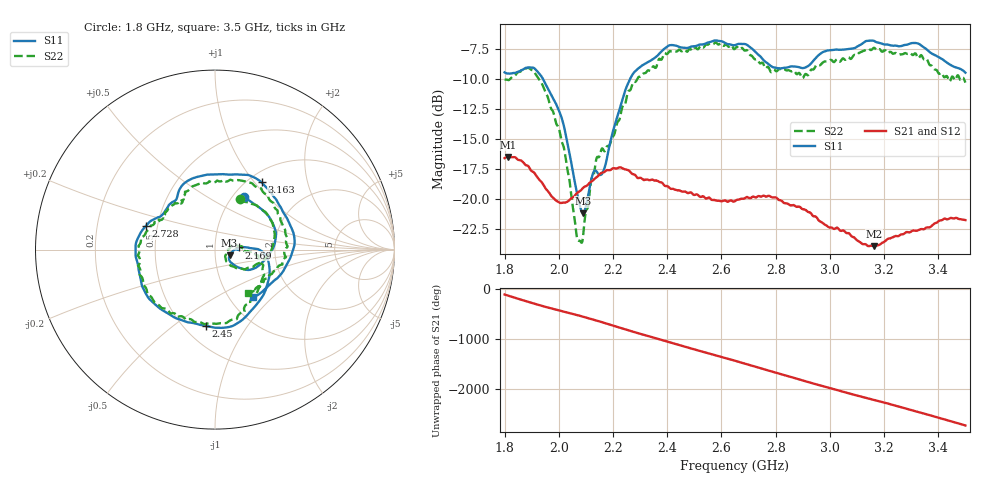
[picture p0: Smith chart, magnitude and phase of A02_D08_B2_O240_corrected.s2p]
! Created with skrf 1.9.0 (http://scikit-rf.org).
# Hz S RI R 50.0
!freq ReS11 ImS11 ReS21 ImS21 ReS12 ImS12 ReS22 ImS22
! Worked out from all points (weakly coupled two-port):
!   1601 points, 1.8 GHz to 3.5 GHz, reference 50 ohm
!   highest |S21| = -16.50 dB at 1.812 GHz (marker M1); lowest = -23.9 dB at 3.163 GHz (marker M2)
!   lowest |S11| = -21.2 dB at 2.09 GHz (marker M3), VSWR 1.19, Z = 58.7 - j3.86 ohm
!   |S11| at or under -10 dB: 1.942 GHz to 2.263 GHz (320.9 MHz wide, 15.3 % of centre)
!   |S22| runs from -23.7 to -6.9 dB; largest |S21 - S12| = 0.0031
!   S11 on the Smith chart (normalised r, x): 1.8 GHz: 1.13, +0.75; 2.169 GHz: 1.31, +0.03; 2.45 GHz: 0.64, -0.66; 2.728 GHz: 0.43, +0.13; 3.163 GHz: 1.15, +1.09; 3.5 GHz: 1.28, -0.76
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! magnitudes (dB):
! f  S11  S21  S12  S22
! 1.8 GHz  -9.4  -16.6  -16.6  -10.0
! 1.812 GHz  -9.5  -16.5  -16.5  -10.1
! 1.888 GHz  -9.0  -17.3  -17.4  -9.1
! 1.941 GHz  -10.0  -18.7  -18.8  -10.6
! 2.013 GHz  -13.4  -20.3  -20.3  -15.3
! 2.066 GHz  -19.3  -19.5  -19.6  -23.1
! 2.084 GHz  -21.0  -19.2  -19.2  -23.7
! 2.09 GHz  -21.2  -19.1  -19.1  -23.0
! 2.136 GHz  -17.6  -18.3  -18.3  -17.0
! 2.169 GHz  -17.4  -17.7  -17.8  -16.0
! 2.197 GHz  -14.5  -17.5  -17.5  -14.9
! 2.261 GHz  -10.1  -17.7  -17.7  -11.0
! 2.367 GHz  -8.0  -18.5  -18.5  -8.4
! 2.45 GHz  -7.4  -19.3  -19.3  -7.6
! 2.65 GHz  -7.2  -20.2  -20.2  -7.5
! 2.728 GHz  -7.8  -19.9  -19.9  -8.4
! 2.802 GHz  -9.1  -19.9  -19.9  -9.3
! 2.934 GHz  -8.6  -21.3  -21.3  -9.2
! 3.163 GHz  -6.8  -23.9  -23.9  -7.4
! 3.217 GHz  -7.1  -23.3  -23.3  -7.8
! 3.324 GHz  -7.0  -22.6  -22.6  -8.2
! 3.5 GHz  -9.5  -21.8  -21.8  -10.3
